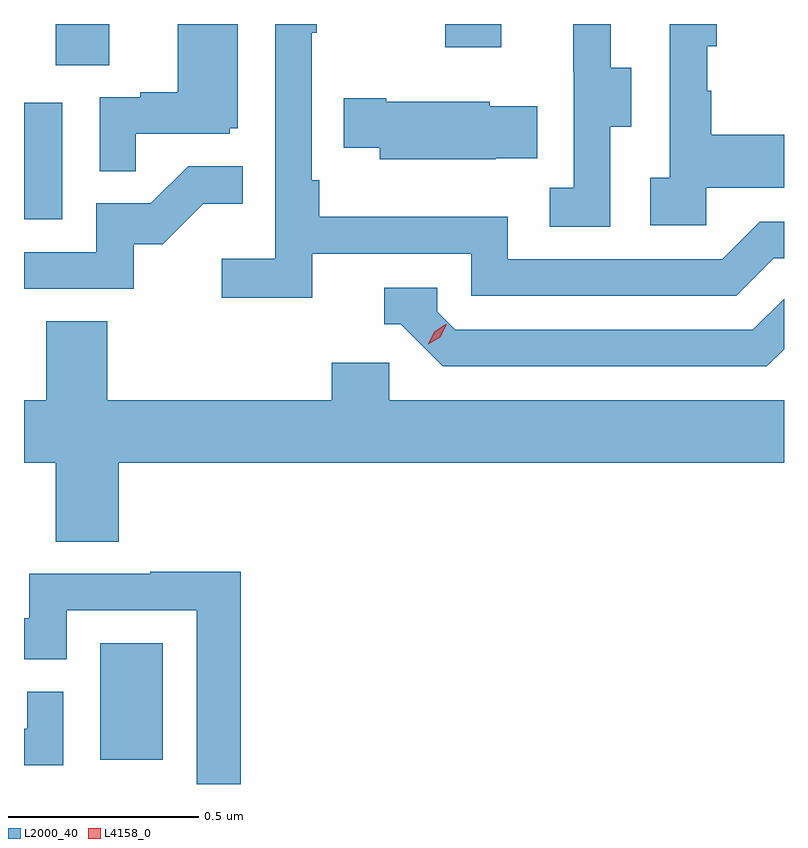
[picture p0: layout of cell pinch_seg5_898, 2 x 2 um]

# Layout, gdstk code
import gdstk
lib = gdstk.Library(unit=1e-6, precision=1e-09)
def R(c, l, rs):  # rectangles x0, y0, x1, y1
    for r in rs: c.add(gdstk.rectangle(r[:2], r[2:], *l))
def P(c, l, *ps):  # polygons
    for p in ps: c.add(gdstk.Polygon(p, *l))
L2000_40 = (2000, 40)
L4158_0 = (4158, 0)

pinch_seg5_898 = lib.new_cell('pinch_seg5_898')
R(pinch_seg5_898, L2000_40, [(862.664,873.294,862.828,873.601), (862.463,874.716,862.564,875.023), (862.547,875.122,862.687,875.23), (863.572,875.169,863.719,875.23)])
P(pinch_seg5_898, L2000_40, [(862.757,874.941),(863.004,874.941),(863.004,874.956),(863.026,874.956),(863.026,875.23),(862.868,875.23),(862.868,875.05),(862.769,875.05),(862.769,875.037),(862.662,875.037),(862.662,874.843),(862.757,874.843)],
  [(864.258,874.799),(864.463,874.799),(864.463,874.939),(864.271,874.939),(864.271,875.054),(864.261,875.054),(864.261,875.172),(864.286,875.172),(864.286,875.23),(864.162,875.23),(864.162,874.826),(864.111,874.826),(864.111,874.701),(864.258,874.701)],
  [(863.222,874.626),(863.64,874.626),(863.64,874.515),(864.337,874.515),(864.436,874.614),(864.463,874.614),(864.463,874.71),(864.399,874.71),(864.3,874.611),(863.736,874.611),(863.736,874.723),(863.24,874.723),(863.24,874.819),(863.22,874.819),(863.22,875.207),(863.233,875.207),(863.233,875.23),(863.124,875.23),(863.124,874.612),(862.983,874.612),(862.983,874.51),(863.222,874.51)],
  [(864.006,874.96),(864.061,874.96),(864.061,875.115),(864.007,875.115),(864.007,875.23),(863.909,875.23),(863.909,875.103),(863.91,875.103),(863.91,874.799),(863.847,874.799),(863.847,874.696),(864.006,874.696)],
  [(863.705,874.877),(863.813,874.877),(863.813,875.014),(863.688,875.014),(863.688,875.026),(863.416,875.026),(863.416,875.034),(863.305,875.034),(863.305,874.904),(863.399,874.904),(863.399,874.874),(863.705,874.874)],
  [(862.752,874.65),(862.828,874.65),(862.935,874.757),(863.039,874.757),(863.039,874.856),(862.895,874.856),(862.797,874.758),(862.653,874.758),(862.653,874.629),(862.463,874.629),(862.463,874.533),(862.752,874.533)],
  [(864.463,874.374),(864.463,874.507),(864.381,874.425),(863.598,874.425),(863.55,874.473),(863.55,874.536),(863.411,874.536),(863.411,874.44),(863.454,874.44),(863.565,874.329),(864.418,874.329)],
  [(862.712,874.076),(864.463,874.076),(864.463,874.24),(863.424,874.24),(863.424,874.338),(863.273,874.338),(863.273,874.24),(862.682,874.24),(862.682,874.448),(862.522,874.448),(862.522,874.24),(862.463,874.24),(862.463,874.076),(862.547,874.076),(862.547,873.868),(862.712,873.868)],
  [(863.033,873.788),(862.795,873.788),(862.795,873.783),(862.477,873.783),(862.477,873.666),(862.463,873.666),(862.463,873.558),(862.575,873.558),(862.575,873.687),(862.917,873.687),(862.917,873.23),(863.033,873.23)],
  [(862.566,873.473),(862.471,873.473),(862.471,873.375),(862.463,873.375),(862.463,873.279),(862.566,873.279)])
P(pinch_seg5_898, L4158_0, [(863.527,874.387),(863.527,874.387),(863.543,874.42),(863.573,874.44),(863.574,874.44),(863.574,874.439),(863.558,874.406),(863.527,874.387)])

lib.write_gds('pinch_seg5_898.gds')
